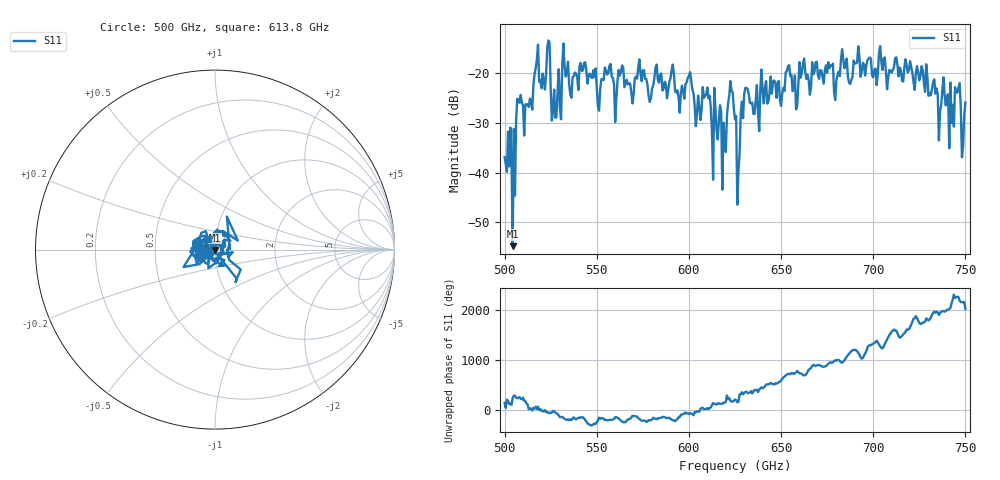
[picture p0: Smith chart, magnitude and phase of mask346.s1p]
!Created with skrf (http://scikit-rf.org).
# GHz S MA R 50.0
!freq magS11 angS11
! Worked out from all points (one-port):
!   401 points, 500 GHz to 750 GHz, reference 50 ohm
!   lowest |S11| = -54.8 dB at 504.4 GHz (marker M1), VSWR 1.00, Z = 49.9 - j0.164 ohm
!   |S11| at or under -10 dB: start of sweep to end of sweep
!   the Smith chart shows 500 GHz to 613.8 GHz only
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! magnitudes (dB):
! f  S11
! 500 GHz  -36.8
! 504.4 GHz  -54.8
! 507.5 GHz  -25.2
! 513.8 GHz  -25.1
! 516.9 GHz  -18.9
! 520.6 GHz  -20.0
! 523.8 GHz  -13.4
! 526.9 GHz  -23.2
! 531.2 GHz  -18.6
! 560 GHz  -29.8
! 562.5 GHz  -20.4
! 579.4 GHz  -25.1
! 590.6 GHz  -19.4
! 593.8 GHz  -23.4
! 610 GHz  -22.8
! 619.4 GHz  -33.8
! 622.5 GHz  -21.5
! 625 GHz  -29.3
! 627.5 GHz  -36.2
! 631.2 GHz  -22.9
! 636.9 GHz  -22.4
! 656.2 GHz  -23.6
! 680 GHz  -21.4
! 684.4 GHz  -19.0
! 687.5 GHz  -22.1
! 691.2 GHz  -17.8
! 718.8 GHz  -19.8
! 750 GHz  -25.8
